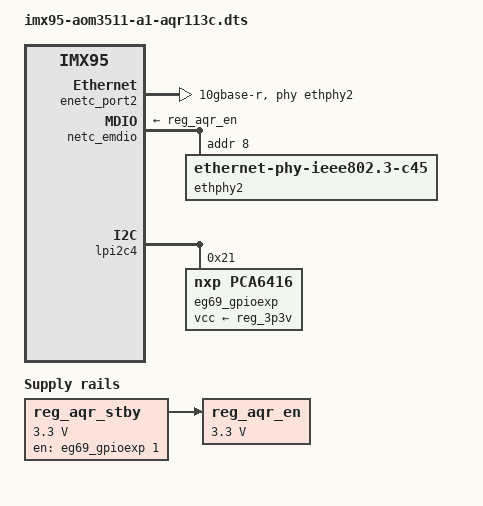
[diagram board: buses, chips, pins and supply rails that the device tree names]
#include "imx95-aom3511-a1.dts"

/ {
	aliases {
		ethernet2 = &enetc_port2;
	};

	reg_aqr_stby: regulator-aqr-stby {
		compatible = "regulator-fixed";
		regulator-name = "aqr-stby";
		regulator-min-microvolt = <3300000>;
		regulator-max-microvolt = <3300000>;
		gpio = <&eg69_gpioexp 1 GPIO_ACTIVE_HIGH>;
		enable-active-high;
		regulator-always-on;
	};

	reg_aqr_en: regulator-aqr-en {
		compatible = "regulator-fixed";
		regulator-name = "aqr-en";
		regulator-min-microvolt = <3300000>;
		regulator-max-microvolt = <3300000>;
		vin-supply = <&reg_aqr_stby>;
		enable-active-high;
	};
};

&enetc_port2 {
	phy-handle = <&ethphy2>;
	phy-mode = "10gbase-r";
	managed = "in-band-status";
	status = "okay";
};

&netc_emdio {
	phy-supply = <&reg_aqr_en>;

	ethphy2: ethernet-phy@8 {
		compatible = "ethernet-phy-ieee802.3-c45";
		reg = <8>;
	};
};

&lpi2c4 {
	eg69_gpioexp: pca6416@21 {
		compatible = "nxp,pca6416";
		#gpio-cells = <2>;
		gpio-controller;
		reg = <0x21>;
		vcc-supply = <&reg_3p3v>;
	};
};
